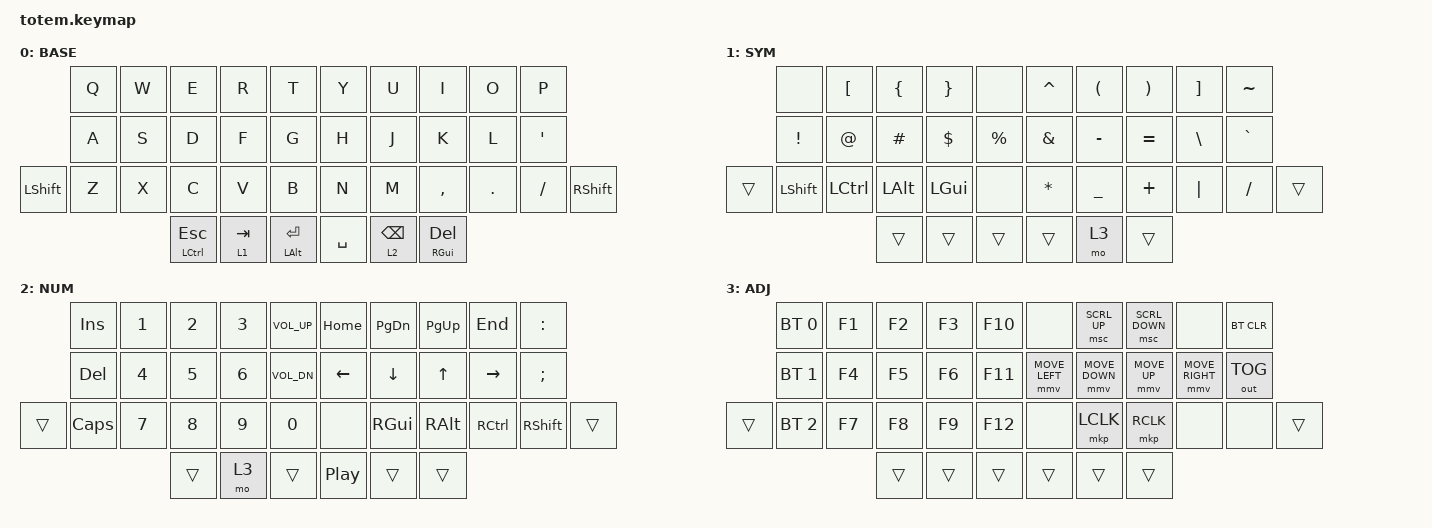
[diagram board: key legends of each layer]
//
//                                                        ▀▀▀▀▀     ▀▀▀▀▀          ▀▀█▀▀
//                                                        ▄▀▀▀▄  ▄  ▄▀▀▀▄  ▄  ▄▀▀▀▄  █  ▄▀▀▀▄
//                                                        █   █  █  █   █  █  █   █  █  █   █
//                                                         ▀▀▀   █   ▀▀▀   █   ▀▀▀   ▀   ▀▀▀
//                                                               █      ▄▄▄█▄▄▄    █   █  
//                                                               ▀      █  █  █     █▄█
//                                                             ▀▀▀▀▀    █  █  █      ▀
//                                                                      ▀  ▀  ▀
//
// ▄▄▄▄▄▄▄▄▄▄▄▄▄▄▄▄▄▄▄▄▄▄▄▄▄▄▄▄▄▄▄▄▄▄▄▄▄▄▄▄▄▄▄▄▄▄▄▄▄▄▄▄▄▄▄▄▄▄▄▄▄▄▄▄▄▄▄▄▄▄▄▄▄▄▄▄▄▄▄▄▄▄▄▄▄▄▄▄▄▄▄▄▄▄▄▄▄▄▄▄▄▄▄▄▄▄▄▄▄▄▄▄▄▄▄▄▄▄▄▄▄▄▄▄▄▄▄▄▄▄▄▄▄▄▄▄▄▄▄▄▄▄▄▄▄▄▄▄▄

#include <behaviors.dtsi>
#include <dt-bindings/zmk/bt.h>
#include <dt-bindings/zmk/keys.h>
#include <dt-bindings/zmk/outputs.h>
#include <dt-bindings/zmk/pointing.h>

#define BASE 0
#define SYM  1
#define NUM  2
#define ADJ  3

&mt {
    flavor = "balanced";
    quick-tap-ms = <170>;
    tapping-term-ms = <170>;
};

&lt {
    flavor = "balanced";
    quick-tap-ms = <170>;
    tapping-term-ms = <170>;
};

/ {
    behaviors {
        mtq: mod_hold_preferred {
            compatible = "zmk,behavior-hold-tap";
            label = "mod_hold_preferred";
            flavor = "hold-preferred";
            tapping-term-ms = <170>;
            quick-tap-ms = <170>;
            #binding-cells = <2>;
            bindings = <&kp>, <&kp>;
        };

        ltq: layer_hold_preferred {
            compatible = "zmk,behavior-hold-tap";
            label = "layer_hold_preferred";
            flavor = "hold-preferred";
            tapping-term-ms = <170>;
            quick-tap-ms = <170>;
            #binding-cells = <2>;
            bindings = <&mo>, <&kp>;
        };
    };

    combos { compatible = "zmk,combos"; };

    keymap {
        compatible = "zmk,keymap";

        // ▄▄▄▄▄▄▄▄▄▄▄▄▄▄▄▄▄▄▄▄▄▄▄▄▄▄▄▄▄▄▄▄▄▄▄▄▄▄▄▄▄▄▄▄▄▄▄▄▄▄▄▄▄▄▄▄▄▄▄▄▄▄▄▄▄▄▄▄▄▄▄▄▄▄▄▄▄▄▄▄▄▄▄▄▄▄▄▄▄▄▄▄▄▄▄▄▄▄▄▄▄▄▄▄▄▄▄▄▄▄▄▄▄▄▄▄▄▄▄▄▄▄▄▄▄▄▄▄▄▄▄▄▄▄▄▄▄▄▄▄▄▄▄▄▄▄▄▄▄

        base_layer {
            // ┏━━━━━━━━━━━━━━━━━━━━━━━━━━━━━━━━━━━━━━━┓

            label = "BASE";

            // ┗━━━━━━━━━━━━━━━━━━━━━━━━━━━━━━━━━━━━━━━┛
            //             ┏━━━━━━━━━━━┳━━━━━━━━━━━┳━━━━━━━━━━━┳━━━━━━━━━━━┳━━━━━━━━━━━┓   ┏━━━━━━━━━━━┳━━━━━━━━━━━┳━━━━━━━━━━━┳━━━━━━━━━━━┳━━━━━━━━━━━┓
            //             ┃     Q     ┃     W     ┃     E     ┃     R     ┃     T     ┃   ┃     Y     ┃     U     ┃     I     ┃     O     ┃     P     ┃
            //             ┣━━━━━━━━━━━╋━━━━━━━━━━━╋━━━━━━━━━━━╋━━━━━━━━━━━╋━━━━━━━━━━━┫   ┣━━━━━━━━━━━╋━━━━━━━━━━━╋━━━━━━━━━━━╋━━━━━━━━━━━╋━━━━━━━━━━━┫
            //             ┃     A     ┃     S     ┃     D     ┃     F     ┃     G     ┃   ┃     H     ┃     J     ┃     K     ┃     L     ┃     ;     ┃
            // ┏━━━━━━━━━━━╋━━━━━━━━━━━╋━━━━━━━━━━━╋━━━━━━━━━━━╋━━━━━━━━━━━╋━━━━━━━━━━━┫   ┣━━━━━━━━━━━╋━━━━━━━━━━━╋━━━━━━━━━━━╋━━━━━━━━━━━╋━━━━━━━━━━━╋━━━━━━━━━━━┓
            // ┃  SHFT `   ┃     Z     ┃     X     ┃     C     ┃     V     ┃     B     ┃   ┃     N     ┃     M     ┃     ,     ┃     .     ┃     /     ┃  SHFT '   ┃
            // ┗━━━━━━━━━━━┻━━━━━━━━━━━┻━━━━━━━━━━━╋━━━━━━━━━━━╋━━━━━━━━━━━╋━━━━━━━━━━━┫   ┣━━━━━━━━━━━╋━━━━━━━━━━━╋━━━━━━━━━━━╋━━━━━━━━━━━┻━━━━━━━━━━━┻━━━━━━━━━━━┛
            //                                     ┃    ESC    ┃  SYM TAB  ┃   ENTER   ┃   ┃    SPC    ┃  NUM BSPC ┃    DEL    ┃
            //                                     ┗━━━━━━━━━━━┻━━━━━━━━━━━┻━━━━━━━━━━━┛   ┗━━━━━━━━━━━┻━━━━━━━━━━━┻━━━━━━━━━━━┛

            bindings = <
            &kp Q  &kp W  &kp E           &kp R       &kp T            &kp Y      &kp U        &kp I          &kp O    &kp P
            &kp A  &kp S  &kp D           &kp F       &kp G            &kp H      &kp J        &kp K          &kp L    &kp APOS
&kp LSHIFT  &kp Z  &kp X  &kp C           &kp V       &kp B            &kp N      &kp M        &kp COMMA      &kp DOT  &kp SLASH  &kp RSHIFT
                          &mtq LCTRL ESC  &ltq 1 TAB  &mtq LALT ENTER  &kp SPACE  &ltq 2 BSPC  &mtq RGUI DEL
            >;
        };

        sym_layer {
            // ┏━━━━━━━━━━━━━━━━━━━━━━━━━━━━━━━━━━━━━━━┓

            label = "SYM";

            // ┗━━━━━━━━━━━━━━━━━━━━━━━━━━━━━━━━━━━━━━━┛
            //             ┏━━━━━━━━━━━┳━━━━━━━━━━━┳━━━━━━━━━━━┳━━━━━━━━━━━┳━━━━━━━━━━━┓   ┏━━━━━━━━━━━┳━━━━━━━━━━━┳━━━━━━━━━━━┳━━━━━━━━━━━┳━━━━━━━━━━━┓
            //             ┃           ┃     [     ┃     {     ┃     }     ┃           ┃   ┃     ˆ     ┃     (     ┃     )     ┃     ]     ┃     ~     ┃
            //             ┣━━━━━━━━━━━╋━━━━━━━━━━━╋━━━━━━━━━━━╋━━━━━━━━━━━╋━━━━━━━━━━━┫   ┣━━━━━━━━━━━╋━━━━━━━━━━━╋━━━━━━━━━━━╋━━━━━━━━━━━╋━━━━━━━━━━━┫
            //             ┃     !     ┃     @     ┃     #     ┃     $     ┃     %     ┃   ┃     &     ┃     -     ┃     =     ┃     \     ┃     `     ┃
            // ┏━━━━━━━━━━━╋━━━━━━━━━━━╋━━━━━━━━━━━╋━━━━━━━━━━━╋━━━━━━━━━━━╋━━━━━━━━━━━┫   ┣━━━━━━━━━━━╋━━━━━━━━━━━╋━━━━━━━━━━━╋━━━━━━━━━━━╋━━━━━━━━━━━╋━━━━━━━━━━━┓
            // ┃           ┃           ┃           ┃           ┃           ┃           ┃   ┃     *     ┃     _     ┃     +     ┃     |     ┃     /     ┃           ┃
            // ┗━━━━━━━━━━━┻━━━━━━━━━━━┻━━━━━━━━━━━╋━━━━━━━━━━━╋━━━━━━━━━━━╋━━━━━━━━━━━┫   ┣━━━━━━━━━━━╋━━━━━━━━━━━╋━━━━━━━━━━━╋━━━━━━━━━━━┻━━━━━━━━━━━┻━━━━━━━━━━━┛
            //                                     ┃           ┃           ┃           ┃   ┃           ┃    ADJ    ┃           ┃
            //                                     ┗━━━━━━━━━━━┻━━━━━━━━━━━┻━━━━━━━━━━━┛   ┗━━━━━━━━━━━┻━━━━━━━━━━━┻━━━━━━━━━━━┛

            bindings = <
        &none            &kp LEFT_BRACKET  &kp LEFT_BRACE  &kp RIGHT_BRACE  &none        &kp CARET      &kp LEFT_PARENTHESIS  &kp RIGHT_PARENTHESIS  &kp RIGHT_BRACKET  &kp TILDE
        &kp EXCLAMATION  &kp AT            &kp HASH        &kp DOLLAR       &kp PERCENT  &kp AMPERSAND  &kp MINUS             &kp EQUAL              &kp BACKSLASH      &kp GRAVE
&trans  &kp LSHIFT       &kp LCTRL         &kp LALT        &kp LGUI         &none        &kp ASTERISK   &kp UNDERSCORE        &kp PLUS               &kp PIPE           &kp SLASH  &trans
                                           &trans          &trans           &trans       &trans         &mo 3                 &trans
            >;
        };

        num_layer {
            // ┏━━━━━━━━━━━━━━━━━━━━━━━━━━━━━━━━━━━━━━━┓

            label = "NUM";

            // ┗━━━━━━━━━━━━━━━━━━━━━━━━━━━━━━━━━━━━━━━┛
            //             ┏━━━━━━━━━━━┳━━━━━━━━━━━┳━━━━━━━━━━━┳━━━━━━━━━━━┳━━━━━━━━━━━┓   ┏━━━━━━━━━━━┳━━━━━━━━━━━┳━━━━━━━━━━━┳━━━━━━━━━━━┳━━━━━━━━━━━┓
            //             ┃    INS    ┃     1     ┃     2     ┃     3     ┃     +     ┃   ┃   HOME    ┃  P DOWN   ┃   P UP    ┃   END     ┃     :     ┃
            //             ┣━━━━━━━━━━━╋━━━━━━━━━━━╋━━━━━━━━━━━╋━━━━━━━━━━━╋━━━━━━━━━━━┫   ┣━━━━━━━━━━━╋━━━━━━━━━━━╋━━━━━━━━━━━╋━━━━━━━━━━━╋━━━━━━━━━━━┫
            //             ┃    DEL    ┃     4     ┃     5     ┃     6     ┃     -     ┃   ┃   LEFT    ┃    DOWN   ┃     UP    ┃   RIGHT   ┃     ;     ┃
            // ┏━━━━━━━━━━━╋━━━━━━━━━━━╋━━━━━━━━━━━╋━━━━━━━━━━━╋━━━━━━━━━━━╋━━━━━━━━━━━┫   ┣━━━━━━━━━━━╋━━━━━━━━━━━╋━━━━━━━━━━━╋━━━━━━━━━━━╋━━━━━━━━━━━╋━━━━━━━━━━━┓
            // ┃           ┃    CAPS   ┃     7     ┃     8     ┃     9     ┃     0     ┃   ┃     *     ┃           ┃           ┃           ┃           ┃           ┃
            // ┗━━━━━━━━━━━┻━━━━━━━━━━━┻━━━━━━━━━━━╋━━━━━━━━━━━╋━━━━━━━━━━━╋━━━━━━━━━━━┫   ┣━━━━━━━━━━━╋━━━━━━━━━━━╋━━━━━━━━━━━╋━━━━━━━━━━━┻━━━━━━━━━━━┻━━━━━━━━━━━┛
            //                                     ┃           ┃    ADJ    ┃           ┃   ┃           ┃           ┃           ┃
            //                                     ┗━━━━━━━━━━━┻━━━━━━━━━━━┻━━━━━━━━━━━┛   ┗━━━━━━━━━━━┻━━━━━━━━━━━┻━━━━━━━━━━━┛

            bindings = <
        &kp INSERT    &kp N1  &kp N2  &kp N3  &kp C_VOL_UP  &kp HOME  &kp PG_DN  &kp PG_UP  &kp END    &kp COLON
        &kp DELETE    &kp N4  &kp N5  &kp N6  &kp C_VOL_DN  &kp LEFT  &kp DOWN   &kp UP     &kp RIGHT  &kp SEMICOLON
&trans  &kp CAPSLOCK  &kp N7  &kp N8  &kp N9  &kp N0        &none     &kp RGUI   &kp RALT   &kp RCTRL  &kp RSHIFT     &trans
                              &trans  &mo 3   &trans        &kp C_PP  &trans     &trans
            >;
        };

        adjust_layer {
            // ┏━━━━━━━━━━━━━━━━━━━━━━━━━━━━━━━━━━━━━━━┓

            label = "ADJ";

            // ┗━━━━━━━━━━━━━━━━━━━━━━━━━━━━━━━━━━━━━━━┛
            //             ┏━━━━━━━━━━━┳━━━━━━━━━━━┳━━━━━━━━━━━┳━━━━━━━━━━━┳━━━━━━━━━━━┓   ┏━━━━━━━━━━━┳━━━━━━━━━━━┳━━━━━━━━━━━┳━━━━━━━━━━━┳━━━━━━━━━━━┓
            //             ┃           ┃    F1     ┃    F2     ┃    F3     ┃    F4     ┃   ┃ BT CLEAR  ┃ BT 0      ┃ BT 1      ┃ BT 2      ┃  OUT TOG  ┃
            //             ┣━━━━━━━━━━━╋━━━━━━━━━━━╋━━━━━━━━━━━╋━━━━━━━━━━━╋━━━━━━━━━━━┫   ┣━━━━━━━━━━━╋━━━━━━━━━━━╋━━━━━━━━━━━╋━━━━━━━━━━━╋━━━━━━━━━━━┫
            //             ┃           ┃    F5     ┃    F6     ┃    F7     ┃    F8     ┃   ┃ M NEXT    ┃   VOL-    ┃   VOL+    ┃ M PLAY    ┃           ┃
            // ┏━━━━━━━━━━━╋━━━━━━━━━━━╋━━━━━━━━━━━╋━━━━━━━━━━━╋━━━━━━━━━━━╋━━━━━━━━━━━┫   ┣━━━━━━━━━━━╋━━━━━━━━━━━╋━━━━━━━━━━━╋━━━━━━━━━━━╋━━━━━━━━━━━╋━━━━━━━━━━━┓
            // ┃           ┃           ┃    F9     ┃    F10    ┃    F11    ┃    F12    ┃   ┃           ┃           ┃           ┃           ┃           ┃           ┃
            // ┗━━━━━━━━━━━┻━━━━━━━━━━━┻━━━━━━━━━━━╋━━━━━━━━━━━╋━━━━━━━━━━━╋━━━━━━━━━━━┫   ┣━━━━━━━━━━━╋━━━━━━━━━━━╋━━━━━━━━━━━╋━━━━━━━━━━━┻━━━━━━━━━━━┻━━━━━━━━━━━┛
            //                                     ┃           ┃           ┃           ┃   ┃           ┃           ┃           ┃
            //                                     ┗━━━━━━━━━━━┻━━━━━━━━━━━┻━━━━━━━━━━━┛   ┗━━━━━━━━━━━┻━━━━━━━━━━━┻━━━━━━━━━━━┛

            bindings = <
        &bt BT_SEL 0  &kp F1  &kp F2  &kp F3  &kp F10  &none           &msc SCRL_UP    &msc SCRL_DOWN  &none            &bt BT_CLR
        &bt BT_SEL 1  &kp F4  &kp F5  &kp F6  &kp F11  &mmv MOVE_LEFT  &mmv MOVE_DOWN  &mmv MOVE_UP    &mmv MOVE_RIGHT  &out OUT_TOG
&trans  &bt BT_SEL 2  &kp F7  &kp F8  &kp F9  &kp F12  &none           &mkp LCLK       &mkp RCLK       &none            &none         &trans
                              &trans  &trans  &trans   &trans          &trans          &trans
            >;
        };

        // ▄▄▄▄▄▄▄▄▄▄▄▄▄▄▄▄▄▄▄▄▄▄▄▄▄▄▄▄▄▄▄▄▄▄▄▄▄▄▄▄▄▄▄▄▄▄▄▄▄▄▄▄▄▄▄▄▄▄▄▄▄▄▄▄▄▄▄▄▄▄▄▄▄▄▄▄▄▄▄▄▄▄▄▄▄▄▄▄▄▄▄▄▄▄▄▄▄▄▄▄▄▄▄▄▄▄▄▄▄▄▄▄▄▄▄▄▄▄▄▄▄▄▄▄▄▄▄▄▄▄▄▄▄▄▄▄▄▄▄▄▄▄▄▄▄▄▄▄▄
        // ▄▄▄▄▄▄▄▄▄▄▄▄▄▄▄▄▄▄▄▄▄▄▄▄▄▄▄▄▄▄▄▄▄▄▄▄▄▄▄▄▄▄▄▄▄▄▄▄▄▄▄▄▄▄▄▄▄▄▄▄▄▄▄▄▄▄▄▄▄▄▄▄▄▄▄▄▄▄▄▄▄▄▄▄▄▄▄▄▄▄▄▄▄▄▄▄▄▄▄▄▄▄▄▄▄▄▄▄▄▄▄▄▄▄▄▄▄▄▄▄▄▄▄▄▄▄▄▄▄▄▄▄▄▄▄▄▄▄▄▄▄▄▄▄▄▄▄▄▄
    };
};
